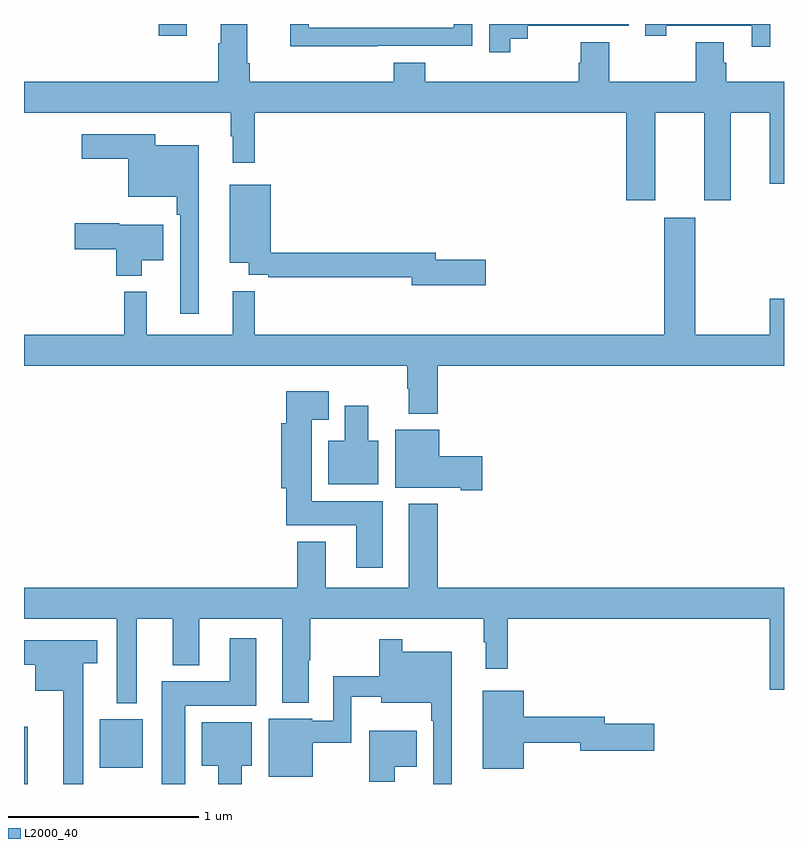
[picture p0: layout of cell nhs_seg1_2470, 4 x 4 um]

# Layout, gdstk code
import gdstk
lib = gdstk.Library(unit=1e-6, precision=1e-09)
def R(c, l, rs):  # rectangles x0, y0, x1, y1
    for r in rs: c.add(gdstk.rectangle(r[:2], r[2:], *l))
def P(c, l, *ps):  # polygons
    for p in ps: c.add(gdstk.Polygon(p, *l))
L2000_40 = (2000, 40)

nhs_seg1_2470 = lib.new_cell('nhs_seg1_2470')
R(nhs_seg1_2470, L2000_40, [(245,548.199,245.02,548.5), (245.399,548.285,245.626,548.539), (245.709,552.138,245.857,552.199)])
P(nhs_seg1_2470, L2000_40, [(248.323,551.732),(248.579,551.732),(248.579,551.271),(248.719,551.271),(248.719,551.732),(248.924,551.732),(248.924,551.358),(249,551.358),(249,551.896),(248.696,551.896),(248.696,551.994),(248.683,551.994),(248.683,552.104),(248.536,552.104),(248.536,551.896),(248.079,551.896),(248.079,552.104),(247.931,552.104),(247.931,551.994),(247.919,551.994),(247.919,551.896),(247.112,551.896),(247.112,551.995),(246.947,551.995),(246.947,551.896),(246.188,551.896),(246.188,551.992),(246.175,551.992),(246.175,552.199),(246.035,552.199),(246.035,552.098),(246.023,552.098),(246.023,551.896),(245,551.896),(245,551.732),(246.087,551.732),(246.087,551.609),(246.098,551.609),(246.098,551.469),(246.215,551.469),(246.215,551.732),(248.171,551.732),(248.171,551.271),(248.323,551.271)],
  [(247.558,552.121),(247.65,552.121),(247.65,552.189),(248.184,552.189),(248.184,552.199),(247.449,552.199),(247.449,552.051),(247.558,552.051)],
  [(246.863,552.084),(247.359,552.084),(247.359,552.199),(247.263,552.199),(247.263,552.18),(246.498,552.18),(246.498,552.199),(246.4,552.199),(246.4,552.083),(246.863,552.083)],
  [(248.928,552.199),(248.269,552.199),(248.269,552.138),(248.38,552.138),(248.38,552.189),(248.831,552.189),(248.831,552.078),(248.928,552.078)],
  [(245.92,551.56),(245.692,551.56),(245.692,551.62),(245.304,551.62),(245.304,551.491),(245.549,551.491),(245.549,551.291),(245.803,551.291),(245.803,551.195),(245.823,551.195),(245.823,550.674),(245.92,550.674)],
  [(247.429,550.958),(247.168,550.958),(247.168,550.994),(246.298,550.994),(246.298,551.353),(246.083,551.353),(246.083,550.943),(246.182,550.943),(246.182,550.878),(246.286,550.878),(246.286,550.866),(247.04,550.866),(247.04,550.823),(247.429,550.823)],
  [(247.178,550.4),(249,550.4),(249,550.753),(248.924,550.753),(248.924,550.564),(248.533,550.564),(248.533,551.179),(248.369,551.179),(248.369,550.564),(246.215,550.564),(246.215,550.793),(246.098,550.793),(246.098,550.564),(245.645,550.564),(245.645,550.789),(245.527,550.789),(245.527,550.564),(245,550.564),(245,550.4),(247.018,550.4),(247.018,550.28),(247.025,550.28),(247.025,550.148),(247.178,550.148)],
  [(245.62,550.955),(245.734,550.955),(245.734,551.143),(245.502,551.143),(245.502,551.151),(245.268,551.151),(245.268,551.014),(245.486,551.014),(245.486,550.874),(245.62,550.874)],
  [(246.889,549.688),(246.514,549.688),(246.514,550.115),(246.604,550.115),(246.604,550.267),(246.38,550.267),(246.38,550.099),(246.353,550.099),(246.353,549.755),(246.38,549.755),(246.38,549.56),(246.749,549.56),(246.749,549.336),(246.889,549.336)],
  [(246.865,550.006),(246.811,550.006),(246.811,550.189),(246.689,550.189),(246.689,550.006),(246.602,550.006),(246.602,549.776),(246.865,549.776)],
  [(247.411,549.924),(247.186,549.924),(247.186,550.063),(246.953,550.063),(246.953,549.758),(247.298,549.758),(247.298,549.746),(247.411,549.746)],
  [(247.178,549.673),(247.025,549.673),(247.025,549.232),(246.589,549.232),(246.589,549.475),(246.437,549.475),(246.437,549.232),(245,549.232),(245,549.068),(245.489,549.068),(245.489,548.624),(245.593,548.624),(245.593,549.068),(245.783,549.068),(245.783,548.825),(245.923,548.825),(245.923,549.068),(246.359,549.068),(246.359,548.627),(246.499,548.627),(246.499,548.851),(246.507,548.851),(246.507,549.068),(247.419,549.068),(247.419,548.945),(247.43,548.945),(247.43,548.805),(247.547,548.805),(247.547,549.068),(248.924,549.068),(248.924,548.694),(249,548.694),(249,549.232),(247.178,549.232)],
  [(245.848,548.612),(246.223,548.612),(246.223,548.965),(246.083,548.965),(246.083,548.74),(245.726,548.74),(245.726,548.199),(245.848,548.199)],
  [(247.252,548.896),(246.991,548.896),(246.991,548.962),(246.87,548.962),(246.87,548.767),(246.627,548.767),(246.627,548.532),(246.516,548.532),(246.516,548.542),(246.287,548.542),(246.287,548.237),(246.52,548.237),(246.52,548.416),(246.723,548.416),(246.723,548.657),(246.881,548.657),(246.881,548.627),(247.143,548.627),(247.143,548.531),(247.155,548.531),(247.155,548.199),(247.252,548.199)],
  [(245.311,548.834),(245.386,548.834),(245.386,548.956),(245,548.956),(245,548.827),(245.06,548.827),(245.06,548.69),(245.207,548.69),(245.207,548.199),(245.311,548.199)],
  [(247.63,548.416),(247.928,548.416),(247.928,548.374),(248.317,548.374),(248.317,548.516),(248.056,548.516),(248.056,548.552),(247.63,548.552),(247.63,548.689),(247.415,548.689),(247.415,548.279),(247.63,548.279)],
  [(246.145,548.294),(246.199,548.294),(246.199,548.524),(245.936,548.524),(245.936,548.294),(246.023,548.294),(246.023,548.199),(246.145,548.199)],
  [(246.952,548.291),(247.066,548.291),(247.066,548.479),(246.818,548.479),(246.818,548.21),(246.952,548.21)])

lib.write_gds('nhs_seg1_2470.gds')
